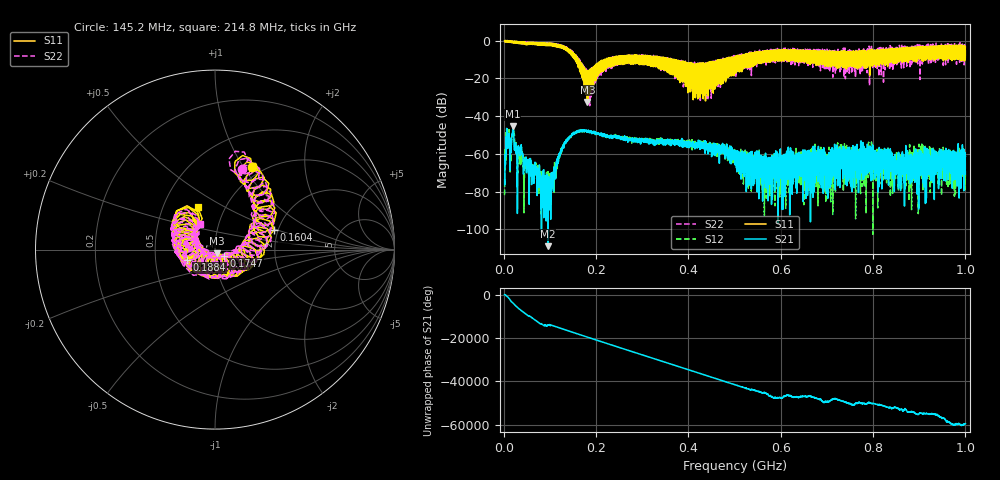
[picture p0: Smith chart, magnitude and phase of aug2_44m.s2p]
!Keysight Technologies N9923A: A.12.45
!Date: Saturday, 02 August 2025 19:59:15
!Timezone: (UTC+08:00) Kuala Lumpur, Singapore
!Model: N9923A
!Serial: MY61181427
!GPS Latitude:
!GPS Longitude:
!GPS TimeStamp: 0001-01-01 00:00:00Z
!GPS Seconds Since Last Read: 0
!CHECKSUM:0439192270
!Correction: S11(ON U)S21(ON U)S12(ON U)S22(ON U)
!S2P File: Measurements:S11,S21,S12,S22:
# Hz S DB R 50
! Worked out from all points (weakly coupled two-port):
!   4001 points, 2 MHz to 1 GHz, reference 50 ohm
!   highest |S21| = -45.49 dB at 19.96 MHz (marker M1); lowest = -109.0 dB at 95.56 MHz (marker M2)
!   lowest |S11| = -32.5 dB at 181.1 MHz (marker M3), VSWR 1.05, Z = 51 - j2.17 ohm
!   |S11| at or under -10 dB: 162.4 MHz to 218.5 MHz (56.15 MHz wide, 29.5 % of centre); 218.6 MHz to 220.1 MHz (1.481 MHz wide, 0.675 % of centre); 369.5 MHz to 473 MHz (103.5 MHz wide, 24.6 % of centre) (the widest 3 of 360)
!   |S22| runs from -34.5 to 0.1 dB; largest |S21 - S12| = 0.0036
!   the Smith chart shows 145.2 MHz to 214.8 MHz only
!   S11 on the Smith chart (normalised r, x): 145.2 MHz: 0.89, +1.09; 160.4 MHz: 1.90, +0.46; 174.7 MHz: 1.10, -0.08; 188.4 MHz: 0.73, -0.08; 214.8 MHz: 0.74, +0.38
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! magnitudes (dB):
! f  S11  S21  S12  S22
! 2 MHz  -0.1  -73.8  -81.9  -0.1
! 7.988 MHz  -0.2  -49.1  -47.8  -0.1
! 19.96 MHz  -0.3  -45.5  -46.8  -0.3
! 27.2 MHz  -0.7  -60.0  -57.2  -0.7
! 39.92 MHz  -0.7  -59.8  -62.8  -0.8
! 95.56 MHz  -1.3  -109.0  -80.4  -1.2
! 145.2 MHz  -6.0  -50.7  -50.4  -6.5
! 160.4 MHz  -9.3  -47.6  -48.3  -9.8
! 168.4 MHz  -14.9  -47.7  -48.0  -16.3
! 174.7 MHz  -24.3  -48.2  -47.8  -18.9
! 181.1 MHz  -32.5  -48.0  -47.8  -19.7
! 188.4 MHz  -15.7  -48.3  -48.5  -18.8
! 214.8 MHz  -11.8  -50.1  -49.9  -15.6
! 334.8 MHz  -12.4  -53.1  -52.6  -9.0
! 415.4 MHz  -30.2  -55.1  -55.0  -14.2
! 501 MHz  -11.6  -59.0  -57.7  -12.8
! 572.9 MHz  -10.9  -74.7  -64.3  -6.2
! 667.4 MHz  -5.7  -60.7  -60.3  -9.6
! 794.2 MHz  -6.9  -55.9  -72.1  -5.3
! 833.8 MHz  -5.4  -61.2  -70.7  -5.1
! 994 MHz  -3.7  -61.9  -59.5  -7.8
! 1 GHz  -5.3  -61.2  -73.7  -1.8
